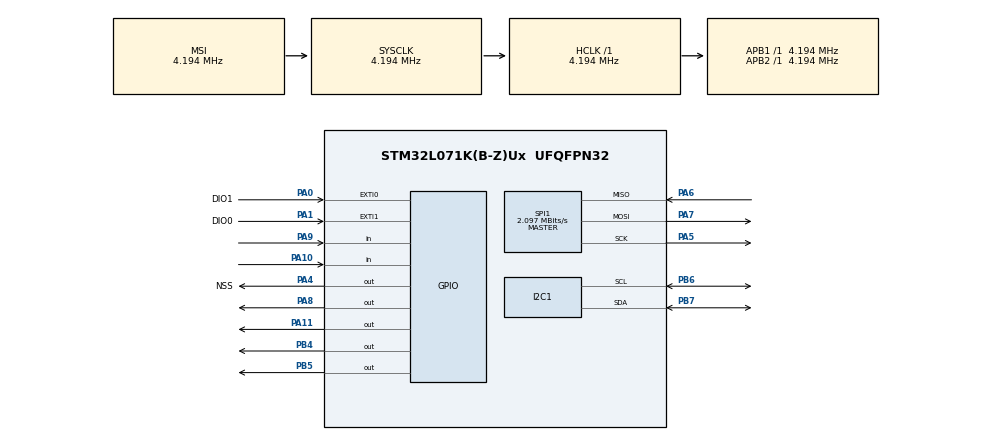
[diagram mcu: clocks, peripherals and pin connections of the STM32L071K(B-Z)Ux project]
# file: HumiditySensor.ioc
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I2C1.Timing=0x00100E15
Mcu.Family=STM32L0
Mcu.Name=STM32L071K(B-Z)Ux
Mcu.Package=UFQFPN32
NVIC.EXTI0_1_IRQn=true\:1\:0\:true\:false\:true\:true\:true\:true
NVIC.RTC_IRQn=true\:0\:0\:false\:false\:true\:true\:true\:true
NVIC.SPI1_IRQn=true\:0\:0\:false\:false\:true\:true\:true\:true
PA0.GPIO_Label=DIO1
PA0.Signal=GPXTI0
PA1.GPIO_Label=DIO0
PA1.Signal=GPXTI1
PA10.Signal=GPIO_Input
PA11.Signal=GPIO_Output
PA13.Mode=Serial_Wire
PA13.Signal=SYS_SWDIO
PA14.Mode=Serial_Wire
PA14.Signal=SYS_SWCLK
PA2.Signal=USART2_TX
PA4.GPIO_Label=NSS
PA4.Signal=GPIO_Output
PA5.Mode=Full_Duplex_Master
PA5.Signal=SPI1_SCK
PA6.Mode=Full_Duplex_Master
PA6.Signal=SPI1_MISO
PA7.Mode=Full_Duplex_Master
PA7.Signal=SPI1_MOSI
PA8.Signal=GPIO_Output
PA9.Signal=GPIO_Input
PB4.Signal=GPIO_Output
PB5.Signal=GPIO_Output
PB6.Mode=I2C
PB6.Signal=I2C1_SCL
PB7.Mode=I2C
PB7.Signal=I2C1_SDA
ProjectManager.HeapSize=0x200
ProjectManager.StackSize=0x400
ProjectManager.TargetToolchain=STM32CubeIDE
RCC.AHBFreq_Value=4194000
RCC.APB1Freq_Value=4194000
RCC.APB1TimFreq_Value=4194000
RCC.APB2Freq_Value=4194000
RCC.APB2TimFreq_Value=4194000
RCC.HCLKFreq_Value=4194000
RCC.HSI16_VALUE=16000000
RCC.HSI_VALUE=16000000
RCC.LSE_VALUE=32768
RCC.LptimClockSelection=RCC_LPTIM1CLKSOURCE_LSI
RCC.MSIClockRange=RCC_MSIRANGE_6
RCC.MSI_VALUE=4194000
RCC.SYSCLKFreq_VALUE=4194000
RCC.VCOOutputFreq_Value=48000000
RTC.Alarm=RTC_ALARM_A
RTC.AlarmMaskDateWeekDay=RTC_ALARMMASK_DATEWEEKDAY
RTC.Month=RTC_MONTH_FEBRUARY
RTC.WeekDay=RTC_WEEKDAY_SATURDAY
RTC.Year=25
SPI1.BaudRatePrescaler=SPI_BAUDRATEPRESCALER_2
SPI1.CalculateBaudRate=2.097 MBits/s
SPI1.Direction=SPI_DIRECTION_2LINES
SPI1.Mode=SPI_MODE_MASTER
SPI1.VirtualType=VM_MASTER
VP_RTC_VS_RTC_Activate.Mode=RTC_Enabled
VP_RTC_VS_RTC_Alarm_A_Intern.Mode=Alarm A
VP_RTC_VS_RTC_Calendar.Mode=RTC_Calendar
board=custom

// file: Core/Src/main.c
/* USER CODE BEGIN Header */
/**
 ******************************************************************************
 * @file           : main.c
 * @brief          : Main program body
 ******************************************************************************
 * @attention
 *
 * Copyright (c) 2025 STMicroelectronics.
 * All rights reserved.
 *
 * This software is licensed under terms that can be found in the LICENSE file
 * in the root directory of this software component.
 * If no LICENSE file comes with this software, it is provided AS-IS.
 *
 ******************************************************************************
 */
/* USER CODE END Header */
#include "main.h"

/* USER CODE BEGIN Includes */
#include "hdc1080.h"
#include "bq27411.h"
#include "rfm95.h"
#include <stdio.h>
#include <string.h>
/* USER CODE END Includes */

I2C_HandleTypeDef hi2c1;

RTC_HandleTypeDef hrtc;

SPI_HandleTypeDef hspi1;

void SystemClock_Config(void);
static void MX_GPIO_Init(void);
static void MX_I2C1_Init(void);
static void MX_RTC_Init(void);
static void MX_SPI1_Init(void);

/* USER CODE BEGIN 0 */
void HAL_RTC_AlarmAEventCallback(RTC_HandleTypeDef *hrtc) {
}

/* USER CODE END 0 */

int main(void)
{

  /* MCU Configuration--------------------------------------------------------*/

  /* Reset of all peripherals, Initializes the Flash interface and the Systick. */
  HAL_Init();

  /* Configure the system clock */
  SystemClock_Config();

  /* Initialize all configured peripherals */
  MX_GPIO_Init();
  MX_I2C1_Init();
  MX_RTC_Init();
  MX_SPI1_Init();
  /* USER CODE BEGIN 2 */
  HDC1080_Init(&hi2c1);
  bq27411_Init(&hi2c1);
  RFM95_Init(&hspi1, GPIOA, GPIO_PIN_4, GPIOA, GPIO_PIN_1);

  RTC_TimeTypeDef currentTime;
  RTC_DateTypeDef currentDate;
  /* USER CODE END 2 */

  /* Infinite loop */
  /* USER CODE BEGIN WHILE */
  while (1)
  {
	  HAL_PWR_EnterSTOPMode(PWR_LOWPOWERREGULATOR_ON, PWR_STOPENTRY_WFI);

	         HAL_RTC_GetTime(&hrtc, &currentTime, RTC_FORMAT_BIN);
	         HAL_RTC_GetDate(&hrtc, &currentDate, RTC_FORMAT_BIN);

	         currentTime.Hours = 17;
	         currentTime.Minutes = 0;
	         currentTime.Seconds = 0;

	         float temperature = HDC1080_ReadTemperature();
	         float humidity = HDC1080_AverageHumidity();
	         float batteryLevel = bq27411_GetStableBatteryLevel();

	         if (batteryLevel < 20.0 || humidity > 70.0) {
	             char alertMessage[32];
	             snprintf(alertMessage, sizeof(alertMessage), "T:%.1f, H:%.1f, B:%.0f", temperature, humidity, batteryLevel);
	             RFM95_SendMessage(alertMessage);
	         }

	         if (currentDate.Date == 1) {
	             char monthlyReport[32];
	             snprintf(monthlyReport, sizeof(monthlyReport), "T:%.1f, H:%.1f, B:%.0f", temperature, humidity, batteryLevel);
	             RFM95_SendMessage(monthlyReport);
	         }

	         RFM95_EnterSleepMode();

    /* USER CODE END WHILE */

  }
}

void SystemClock_Config(void)
{
  RCC_OscInitTypeDef RCC_OscInitStruct = {0};
  RCC_ClkInitTypeDef RCC_ClkInitStruct = {0};
  RCC_PeriphCLKInitTypeDef PeriphClkInit = {0};

  /** Configure the main internal regulator output voltage
  */
  __HAL_PWR_VOLTAGESCALING_CONFIG(PWR_REGULATOR_VOLTAGE_SCALE1);

  /** Initializes the RCC Oscillators according to the specified parameters
  * in the RCC_OscInitTypeDef structure.
  */
  RCC_OscInitStruct.OscillatorType = RCC_OSCILLATORTYPE_LSI|RCC_OSCILLATORTYPE_MSI;
  RCC_OscInitStruct.LSIState = RCC_LSI_ON;
  RCC_OscInitStruct.MSIState = RCC_MSI_ON;
  RCC_OscInitStruct.MSICalibrationValue = 0;
  RCC_OscInitStruct.MSIClockRange = RCC_MSIRANGE_6;
  RCC_OscInitStruct.PLL.PLLState = RCC_PLL_NONE;
  if (HAL_RCC_OscConfig(&RCC_OscInitStruct) != HAL_OK)
  {
    Error_Handler();
  }

  /** Initializes the CPU, AHB and APB buses clocks
  */
  RCC_ClkInitStruct.ClockType = RCC_CLOCKTYPE_HCLK|RCC_CLOCKTYPE_SYSCLK
                              |RCC_CLOCKTYPE_PCLK1|RCC_CLOCKTYPE_PCLK2;
  RCC_ClkInitStruct.SYSCLKSource = RCC_SYSCLKSOURCE_MSI;
  RCC_ClkInitStruct.AHBCLKDivider = RCC_SYSCLK_DIV1;
  RCC_ClkInitStruct.APB1CLKDivider = RCC_HCLK_DIV1;
  RCC_ClkInitStruct.APB2CLKDivider = RCC_HCLK_DIV1;

  if (HAL_RCC_ClockConfig(&RCC_ClkInitStruct, FLASH_LATENCY_0) != HAL_OK)
  {
    Error_Handler();
  }
  PeriphClkInit.PeriphClockSelection = RCC_PERIPHCLK_I2C1|RCC_PERIPHCLK_RTC;
  PeriphClkInit.I2c1ClockSelection = RCC_I2C1CLKSOURCE_PCLK1;
  PeriphClkInit.RTCClockSelection = RCC_RTCCLKSOURCE_LSI;
  if (HAL_RCCEx_PeriphCLKConfig(&PeriphClkInit) != HAL_OK)
  {
    Error_Handler();
  }
}

static void MX_I2C1_Init(void)
{

  hi2c1.Instance = I2C1;
  hi2c1.Init.Timing = 0x00100E15;
  hi2c1.Init.OwnAddress1 = 0;
  hi2c1.Init.AddressingMode = I2C_ADDRESSINGMODE_7BIT;
  hi2c1.Init.DualAddressMode = I2C_DUALADDRESS_DISABLE;
  hi2c1.Init.OwnAddress2 = 0;
  hi2c1.Init.OwnAddress2Masks = I2C_OA2_NOMASK;
  hi2c1.Init.GeneralCallMode = I2C_GENERALCALL_DISABLE;
  hi2c1.Init.NoStretchMode = I2C_NOSTRETCH_DISABLE;
  if (HAL_I2C_Init(&hi2c1) != HAL_OK)
  {
    Error_Handler();
  }

  /** Configure Analogue filter
  */
  if (HAL_I2CEx_ConfigAnalogFilter(&hi2c1, I2C_ANALOGFILTER_ENABLE) != HAL_OK)
  {
    Error_Handler();
  }

  /** Configure Digital filter
  */
  if (HAL_I2CEx_ConfigDigitalFilter(&hi2c1, 0) != HAL_OK)
  {
    Error_Handler();
  }

}

static void MX_RTC_Init(void)
{

  RTC_TimeTypeDef sTime = {0};
  RTC_DateTypeDef sDate = {0};
  RTC_AlarmTypeDef sAlarm = {0};

  /** Initialize RTC Only
  */
  hrtc.Instance = RTC;
  hrtc.Init.HourFormat = RTC_HOURFORMAT_24;
  hrtc.Init.AsynchPrediv = 127;
  hrtc.Init.SynchPrediv = 255;
  hrtc.Init.OutPut = RTC_OUTPUT_DISABLE;
  hrtc.Init.OutPutRemap = RTC_OUTPUT_REMAP_NONE;
  hrtc.Init.OutPutPolarity = RTC_OUTPUT_POLARITY_HIGH;
  hrtc.Init.OutPutType = RTC_OUTPUT_TYPE_OPENDRAIN;
  if (HAL_RTC_Init(&hrtc) != HAL_OK)
  {
    Error_Handler();
  }

  /** Initialize RTC and set the Time and Date
  */
  sTime.Hours = 0x0;
  sTime.Minutes = 0x0;
  sTime.Seconds = 0x0;
  sTime.DayLightSaving = RTC_DAYLIGHTSAVING_NONE;
  sTime.StoreOperation = RTC_STOREOPERATION_RESET;
  if (HAL_RTC_SetTime(&hrtc, &sTime, RTC_FORMAT_BCD) != HAL_OK)
  {
    Error_Handler();
  }
  sDate.WeekDay = RTC_WEEKDAY_SATURDAY;
  sDate.Month = RTC_MONTH_FEBRUARY;
  sDate.Date = 0x1;
  sDate.Year = 0x25;

  if (HAL_RTC_SetDate(&hrtc, &sDate, RTC_FORMAT_BCD) != HAL_OK)
  {
    Error_Handler();
  }

  /** Enable the Alarm A
  */
  sAlarm.AlarmTime.Hours = 0x0;
  sAlarm.AlarmTime.Minutes = 0x0;
  sAlarm.AlarmTime.Seconds = 0x0;
  sAlarm.AlarmTime.SubSeconds = 0x0;
  sAlarm.AlarmTime.DayLightSaving = RTC_DAYLIGHTSAVING_NONE;
  sAlarm.AlarmTime.StoreOperation = RTC_STOREOPERATION_RESET;
  sAlarm.AlarmMask = RTC_ALARMMASK_DATEWEEKDAY;
  sAlarm.AlarmSubSecondMask = RTC_ALARMSUBSECONDMASK_ALL;
  sAlarm.AlarmDateWeekDaySel = RTC_ALARMDATEWEEKDAYSEL_DATE;
  sAlarm.AlarmDateWeekDay = 0x1;
  sAlarm.Alarm = RTC_ALARM_A;
  if (HAL_RTC_SetAlarm_IT(&hrtc, &sAlarm, RTC_FORMAT_BCD) != HAL_OK)
  {
    Error_Handler();
  }

}

static void MX_SPI1_Init(void)
{

  /* SPI1 parameter configuration*/
  hspi1.Instance = SPI1;
  hspi1.Init.Mode = SPI_MODE_MASTER;
  hspi1.Init.Direction = SPI_DIRECTION_2LINES;
  hspi1.Init.DataSize = SPI_DATASIZE_8BIT;
  hspi1.Init.CLKPolarity = SPI_POLARITY_LOW;
  hspi1.Init.CLKPhase = SPI_PHASE_1EDGE;
  hspi1.Init.NSS = SPI_NSS_SOFT;
  hspi1.Init.BaudRatePrescaler = SPI_BAUDRATEPRESCALER_2;
  hspi1.Init.FirstBit = SPI_FIRSTBIT_MSB;
  hspi1.Init.TIMode = SPI_TIMODE_DISABLE;
  hspi1.Init.CRCCalculation = SPI_CRCCALCULATION_DISABLE;
  hspi1.Init.CRCPolynomial = 7;
  if (HAL_SPI_Init(&hspi1) != HAL_OK)
  {
    Error_Handler();
  }

}

static void MX_GPIO_Init(void)
{
  GPIO_InitTypeDef GPIO_InitStruct = {0};

  /* GPIO Ports Clock Enable */
  __HAL_RCC_GPIOA_CLK_ENABLE();
  __HAL_RCC_GPIOB_CLK_ENABLE();

  /*Configure GPIO pin Output Level */
  HAL_GPIO_WritePin(GPIOA, NSS_Pin|GPIO_PIN_8|GPIO_PIN_11, GPIO_PIN_RESET);

  /*Configure GPIO pin Output Level */
  HAL_GPIO_WritePin(GPIOB, GPIO_PIN_4|GPIO_PIN_5, GPIO_PIN_RESET);

  /*Configure GPIO pins : DIO1_Pin DIO0_Pin */
  GPIO_InitStruct.Pin = DIO1_Pin|DIO0_Pin;
  GPIO_InitStruct.Mode = GPIO_MODE_IT_RISING;
  GPIO_InitStruct.Pull = GPIO_NOPULL;
  HAL_GPIO_Init(GPIOA, &GPIO_InitStruct);

  /*Configure GPIO pin : PA2 */
  GPIO_InitStruct.Pin = GPIO_PIN_2;
  GPIO_InitStruct.Mode = GPIO_MODE_AF_PP;
  GPIO_InitStruct.Pull = GPIO_NOPULL;
  GPIO_InitStruct.Speed = GPIO_SPEED_FREQ_VERY_HIGH;
  GPIO_InitStruct.Alternate = GPIO_AF4_USART2;
  HAL_GPIO_Init(GPIOA, &GPIO_InitStruct);

  /*Configure GPIO pins : NSS_Pin PA8 PA11 */
  GPIO_InitStruct.Pin = NSS_Pin|GPIO_PIN_8|GPIO_PIN_11;
  GPIO_InitStruct.Mode = GPIO_MODE_OUTPUT_PP;
  GPIO_InitStruct.Pull = GPIO_NOPULL;
  GPIO_InitStruct.Speed = GPIO_SPEED_FREQ_LOW;
  HAL_GPIO_Init(GPIOA, &GPIO_InitStruct);

  /*Configure GPIO pins : PA9 PA10 */
  GPIO_InitStruct.Pin = GPIO_PIN_9|GPIO_PIN_10;
  GPIO_InitStruct.Mode = GPIO_MODE_INPUT;
  GPIO_InitStruct.Pull = GPIO_NOPULL;
  HAL_GPIO_Init(GPIOA, &GPIO_InitStruct);

  /*Configure GPIO pins : PB4 PB5 */
  GPIO_InitStruct.Pin = GPIO_PIN_4|GPIO_PIN_5;
  GPIO_InitStruct.Mode = GPIO_MODE_OUTPUT_PP;
  GPIO_InitStruct.Pull = GPIO_NOPULL;
  GPIO_InitStruct.Speed = GPIO_SPEED_FREQ_LOW;
  HAL_GPIO_Init(GPIOB, &GPIO_InitStruct);

  /* EXTI interrupt init*/
  HAL_NVIC_SetPriority(EXTI0_1_IRQn, 1, 0);
  HAL_NVIC_EnableIRQ(EXTI0_1_IRQn);

}

void Error_Handler(void)
{
	__disable_irq();
	while (1)
	{
	}
}
